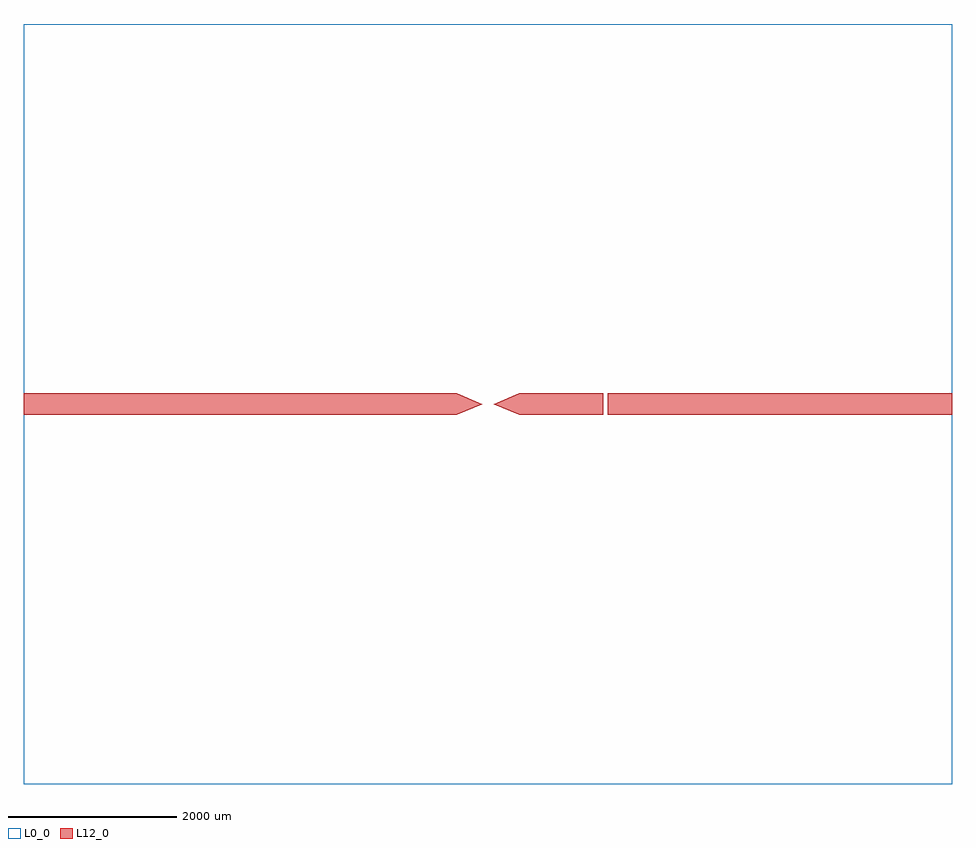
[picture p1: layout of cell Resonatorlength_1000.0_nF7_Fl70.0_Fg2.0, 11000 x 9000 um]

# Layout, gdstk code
import gdstk
lib = gdstk.Library(unit=1e-6, precision=1e-09)
def R(c, l, rs):  # rectangles x0, y0, x1, y1
    for r in rs: c.add(gdstk.rectangle(r[:2], r[2:], *l))
def A(c, l, x, y, w, h, nx, ny, dx, dy):  # array of equal rectangles
    R(c, l, [(x+i*dx, y+j*dy, x+i*dx+w, y+j*dy+h) for i in range(nx) for j in range(ny)])
def P(c, l, *ps):  # polygons
    for p in ps: c.add(gdstk.Polygon(p, *l))
L0_0 = (0, 0)
L12_0 = (12, 0)

resonatorlength_1000_0_n = lib.new_cell('Resonatorlength_1000.0_nF7_Fl70.0_Fg2.0')
R(resonatorlength_1000_0_n, L0_0, [(-5500,-4500,5500,4500)])
A(resonatorlength_1000_0_n, L12_0, -1439.25, -125, 70, 34, 1, 4, 0, 72)
A(resonatorlength_1000_0_n, L12_0, -1437.25, -89, 70, 34, 1, 3, 0, 72)
R(resonatorlength_1000_0_n, L12_0, [(-5500,-125,-1439.25,125), (-1367.25,-125,-367.25,125), (367.25,-125,1367.25,125), (1417.25,-125,5500,125)])
P(resonatorlength_1000_0_n, L12_0, [(-367.25,125),(-367.25,-125),(-67.25,0)],
  [(367.25,125),(367.25,-125),(67.25,0)])

lib.write_gds('Resonatorlength_1000.0_nF7_Fl70.0_Fg2.0.gds')
